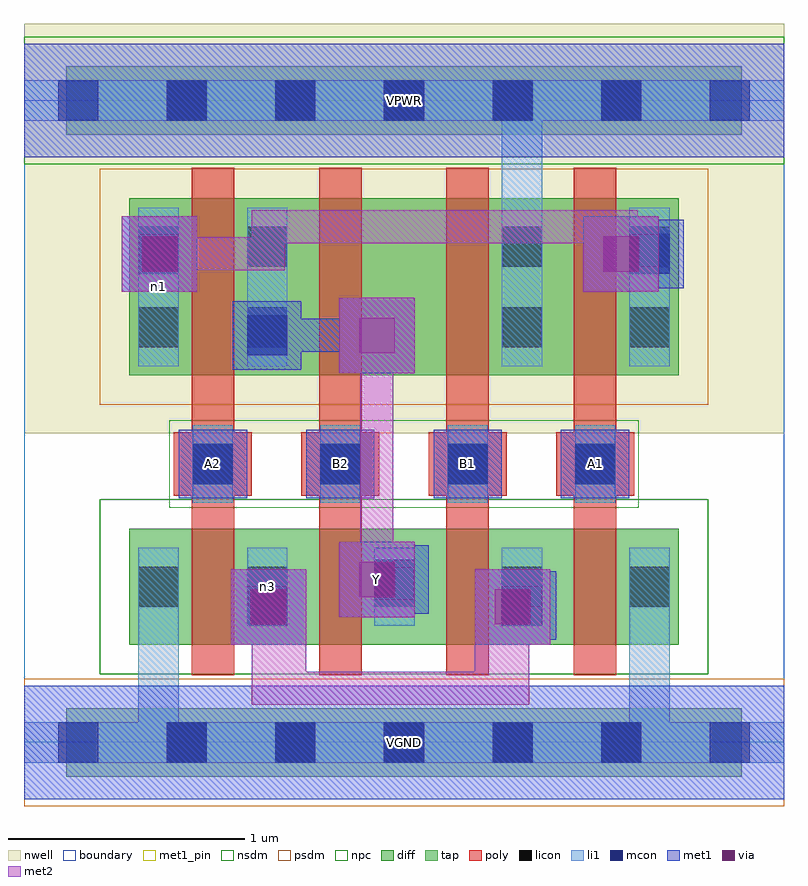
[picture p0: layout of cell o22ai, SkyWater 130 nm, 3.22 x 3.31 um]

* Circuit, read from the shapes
.subckt o22ai A1 A2 B1 B2 VGND VPWR Y n1 n3
XM1 n3 A2 VGND VGND sky130_fd_pr__nfet_01v8 w=0.49 l=0.18
XM2 Y B2 n3 VGND sky130_fd_pr__nfet_01v8 w=0.49 l=0.18
XM3 n3 B1 Y VGND sky130_fd_pr__nfet_01v8 w=0.49 l=0.18
XM4 VGND A1 n3 VGND sky130_fd_pr__nfet_01v8 w=0.49 l=0.18
XM5 Y A2 n1 VPWR sky130_fd_pr__pfet_01v8 w=0.75 l=0.18
XM6 n2 B2 Y VPWR sky130_fd_pr__pfet_01v8 w=0.75 l=0.18
XM7 VPWR B1 n2 VPWR sky130_fd_pr__pfet_01v8 w=0.75 l=0.18
XM8 n1 A1 VPWR VPWR sky130_fd_pr__pfet_01v8 w=0.75 l=0.18
.ends

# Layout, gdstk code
import gdstk
lib = gdstk.Library(unit=1e-6, precision=1e-09)
def R(c, l, rs):  # rectangles x0, y0, x1, y1
    for r in rs: c.add(gdstk.rectangle(r[:2], r[2:], *l))
def A(c, l, x, y, w, h, nx, ny, dx, dy):  # array of equal rectangles
    R(c, l, [(x+i*dx, y+j*dy, x+i*dx+w, y+j*dy+h) for i in range(nx) for j in range(ny)])
nwell = (64, 20)
diff = (65, 20)
tap = (65, 44)
poly = (66, 20)
licon = (66, 44)
li1 = (67, 20)
mcon = (67, 44)
met1_pin = (68, 16)
met1 = (68, 20)
via = (68, 44)
met2 = (69, 20)
nsdm = (93, 44)
psdm = (94, 20)
npc = (95, 20)
boundary = (235, 4)

o22ai = lib.new_cell('o22ai')
R(o22ai, nwell, [(0,1.31,3.22,3.045)])
R(o22ai, diff, [(0.445,0.415,2.775,0.905), (0.445,1.555,2.775,2.305)])
R(o22ai, tap, [(0.18,-0.145,3.04,0.145), (0.18,2.575,3.04,2.865)])
A(o22ai, poly, 0.71, 0.285, 0.18, 2.15, 4, 1, 0.54, 0)
A(o22ai, poly, 0.635, 1.045, 0.33, 0.27, 4, 1, 0.54, 0)
A(o22ai, licon, 0.605, -0.085, 0.17, 0.17, 5, 2, 0.46, 2.72)
A(o22ai, licon, 0.945, 0.575, 0.17, 0.17, 4, 1, 0.54, 0)
A(o22ai, licon, 0.715, 1.095, 0.17, 0.17, 4, 1, 0.54, 0)
R(o22ai, licon, [(0.485,0.575,0.655,0.745), (0.485,1.675,0.655,1.845), (0.945,1.675,1.115,1.845), (2.025,1.675,2.195,1.845), (2.565,1.675,2.735,1.845), (0.485,2.015,0.655,2.185), (0.945,2.015,1.115,2.185), (2.025,2.015,2.195,2.185), (2.565,2.015,2.735,2.185)])
A(o22ai, li1, 0.945, 0.495, 0.17, 0.33, 4, 1, 0.54, 0)
A(o22ai, li1, 0.715, 1.015, 0.17, 0.33, 4, 1, 0.54, 0)
R(o22ai, li1, [(0,-0.085,3.22,0.085), (0.485,-0.085,0.655,0.825), (2.565,-0.085,2.735,0.825), (0.485,0.495,0.655,0.825), (0.485,1.595,0.655,2.265), (0.945,1.595,1.115,2.265), (2.025,1.595,2.195,2.265), (2.025,1.595,2.195,2.805), (2.565,1.595,2.735,2.265), (0,2.635,3.22,2.805)])
A(o22ai, mcon, 0.145, -0.085, 0.17, 0.17, 7, 2, 0.46, 2.72)
A(o22ai, mcon, 0.715, 1.095, 0.17, 0.17, 4, 1, 0.54, 0)
R(o22ai, mcon, [(0.945,0.495,1.115,0.665), (2.025,0.495,2.195,0.665), (1.485,0.605,1.655,0.775), (0.945,1.64,1.115,1.81), (0.485,1.985,0.655,2.155), (2.565,1.985,2.735,2.155)])
A(o22ai, met1_pin, 0.655, 1.035, 0.29, 0.29, 4, 1, 0.54, 0)
R(o22ai, met1_pin, [(0,-0.24,3.22,0.24), (1.335,0.53,1.655,0.85), (0,2.48,3.22,2.96)])
A(o22ai, met1, 0.655, 1.035, 0.29, 0.29, 4, 1, 0.54, 0)
R(o22ai, met1, [(0,-0.24,3.22,0.24), (0.875,0.415,1.195,0.735), (1.91,0.415,2.23,0.735), (0.885,0.435,1.175,0.725), (1.965,0.435,2.255,0.725), (0.965,0.505,1.105,0.65), (2,0.505,2.14,0.65), (0.96,0.51,1.105,0.65), (2,0.51,2.18,0.65), (1.335,0.53,1.655,0.85), (1.425,0.545,1.715,0.835), (1.425,0.62,1.64,0.76), (1.335,1.565,1.655,1.885), (0.885,1.58,1.175,1.87), (0.96,1.655,1.22,1.795), (1.08,1.655,1.565,1.795), (0.415,1.91,0.735,2.23), (2.37,1.91,2.69,2.23), (0.425,1.925,0.715,2.215), (2.505,1.925,2.795,2.215), (0.5,2,0.645,2.14), (2.46,2,2.72,2.14), (0,2.48,3.22,2.96)])
R(o22ai, via, [(0.96,0.5,1.11,0.65), (1.995,0.5,2.145,0.65), (1.42,0.615,1.57,0.765), (1.42,1.65,1.57,1.8), (0.5,1.995,0.65,2.145), (2.455,1.995,2.605,2.145)])
R(o22ai, met2, [(0.965,0.16,1.105,0.645), (0.965,0.16,2.14,0.3), (2,0.16,2.14,0.645), (0.965,0.3,1.195,0.415), (1.91,0.3,2.14,0.415), (0.875,0.415,1.195,0.735), (1.91,0.415,2.23,0.735), (1.335,0.53,1.655,0.85), (1.425,0.62,1.565,1.795), (1.335,1.565,1.655,1.885), (0.415,1.91,0.735,2.23), (2.37,1.91,2.69,2.23), (0.505,2,1.105,2.14), (0.965,2,1.105,2.255), (2.46,2,2.6,2.255), (0.965,2.115,2.6,2.255)])
R(o22ai, nsdm, [(0.32,0.29,2.9,1.03), (0,2.45,3.22,2.99)])
R(o22ai, psdm, [(0,-0.27,3.22,0.27), (0.32,1.43,2.9,2.43)])
R(o22ai, npc, [(0.615,0.995,2.605,1.365)])
R(o22ai, boundary, [(0,0,3.22,2.72)])
o22ai.add(gdstk.Label('n3', (1.03,0.66), layer=67, texttype=5))
o22ai.add(gdstk.Label('n1', (0.57,1.93), layer=67, texttype=5))
o22ai.add(gdstk.Label('A1', (2.42,1.18), layer=68, texttype=5))
o22ai.add(gdstk.Label('A2', (0.8,1.18), layer=68, texttype=5))
o22ai.add(gdstk.Label('B1', (1.88,1.18), layer=68, texttype=5))
o22ai.add(gdstk.Label('B2', (1.34,1.18), layer=68, texttype=5))
o22ai.add(gdstk.Label('Y', (1.495,0.69), layer=68, texttype=5))
o22ai.add(gdstk.Label('VPWR', (1.61,2.72), layer=68, texttype=5))
o22ai.add(gdstk.Label('VGND', (1.61,0), layer=68, texttype=5))
o22ai.add(gdstk.Label('A1', (2.42,1.18), layer=68, texttype=16))
o22ai.add(gdstk.Label('A2', (0.8,1.18), layer=68, texttype=16))
o22ai.add(gdstk.Label('B1', (1.88,1.18), layer=68, texttype=16))
o22ai.add(gdstk.Label('B2', (1.34,1.18), layer=68, texttype=16))
o22ai.add(gdstk.Label('Y', (1.495,0.69), layer=68, texttype=16))
o22ai.add(gdstk.Label('VPWR', (1.61,2.72), layer=68, texttype=16))
o22ai.add(gdstk.Label('VGND', (1.61,0), layer=68, texttype=16))

lib.write_gds('o22ai.gds')
